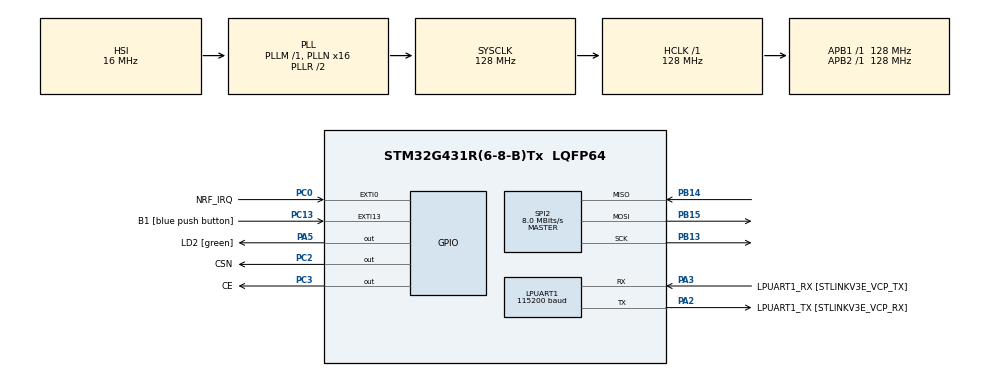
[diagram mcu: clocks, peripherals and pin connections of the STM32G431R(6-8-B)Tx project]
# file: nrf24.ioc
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LPUART1.BaudRate=115200
LPUART1.WordLength=UART_WORDLENGTH_8B
Mcu.Family=STM32G4
Mcu.Name=STM32G431R(6-8-B)Tx
Mcu.Package=LQFP64
NVIC.PriorityGroup=NVIC_PRIORITYGROUP_4
PA13.GPIO_Label=T_SWDIO
PA13.Mode=Serial_Wire
PA13.Signal=SYS_JTMS-SWDIO
PA14.GPIO_Label=T_SWCLK
PA14.Mode=Serial_Wire
PA14.Signal=SYS_JTCK-SWCLK
PA2.GPIO_Label=LPUART1_TX [STLINKV3E_VCP_RX]
PA2.Mode=Asynchronous
PA2.Signal=LPUART1_TX
PA3.GPIO_Label=LPUART1_RX [STLINKV3E_VCP_TX]
PA3.Mode=Asynchronous
PA3.Signal=LPUART1_RX
PA5.GPIO_Label=LD2 [green]
PA5.Signal=GPIO_Output
PB13.GPIO_Speed=GPIO_SPEED_FREQ_VERY_HIGH
PB13.Mode=Full_Duplex_Master
PB13.Signal=SPI2_SCK
PB14.GPIO_Speed=GPIO_SPEED_FREQ_VERY_HIGH
PB14.Mode=Full_Duplex_Master
PB14.Signal=SPI2_MISO
PB15.GPIO_Speed=GPIO_SPEED_FREQ_VERY_HIGH
PB15.Mode=Full_Duplex_Master
PB15.Signal=SPI2_MOSI
PB3.GPIO_Label=T_SWO
PB3.Signal=SYS_JTDO-SWO
PC0.GPIO_Label=NRF_IRQ
PC0.GPIO_ModeDefaultEXTI=GPIO_MODE_IT_FALLING
PC0.GPIO_PuPd=GPIO_PULLUP
PC0.Signal=GPXTI0
PC13.GPIO_Label=B1 [blue push button]
PC13.Signal=GPXTI13
PC14-OSC32_IN.Mode=LSE-External-Oscillator
PC14-OSC32_IN.Signal=RCC_OSC32_IN
PC15-OSC32_OUT.Mode=LSE-External-Oscillator
PC15-OSC32_OUT.Signal=RCC_OSC32_OUT
PC2.GPIO_Label=CSN
PC2.GPIO_Speed=GPIO_SPEED_FREQ_VERY_HIGH
PC2.Signal=GPIO_Output
PC3.GPIO_Label=CE
PC3.GPIO_Speed=GPIO_SPEED_FREQ_VERY_HIGH
PC3.Signal=GPIO_Output
PF0-OSC_IN.Mode=HSE-External-Oscillator
PF0-OSC_IN.Signal=RCC_OSC_IN
PF1-OSC_OUT.Mode=HSE-External-Oscillator
PF1-OSC_OUT.Signal=RCC_OSC_OUT
ProjectManager.HeapSize=0x200
ProjectManager.StackSize=0x400
ProjectManager.TargetToolchain=STM32CubeIDE
RCC.ADC12Freq_Value=128000000
RCC.AHBFreq_Value=128000000
RCC.APB1Freq_Value=128000000
RCC.APB1TimFreq_Value=128000000
RCC.APB2Freq_Value=128000000
RCC.APB2TimFreq_Value=128000000
RCC.CortexFreq_Value=128000000
RCC.EXTERNAL_CLOCK_VALUE=12288000
RCC.HCLKFreq_Value=128000000
RCC.HSE_VALUE=24000000
RCC.HSI48_VALUE=48000000
RCC.HSI_VALUE=16000000
RCC.PLLN=16
RCC.RTCClockSelection=RCC_RTCCLKSOURCE_LSE
RCC.SYSCLKFreq_VALUE=128000000
RCC.SYSCLKSource=RCC_SYSCLKSOURCE_PLLCLK
RCC.USBFreq_Value=128000000
RCC.VCOOutputFreq_Value=256000000
SPI2.BaudRatePrescaler=SPI_BAUDRATEPRESCALER_16
SPI2.CalculateBaudRate=8.0 MBits/s
SPI2.DataSize=SPI_DATASIZE_8BIT
SPI2.Direction=SPI_DIRECTION_2LINES
SPI2.Mode=SPI_MODE_MASTER
SPI2.NSSPMode=SPI_NSS_PULSE_DISABLE
SPI2.VirtualType=VM_MASTER
VP_SYS_VS_DBSignals.Mode=DisableDeadBatterySignals
board=NUCLEO-G431RB

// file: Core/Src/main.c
/* USER CODE BEGIN Header */
/**
  ******************************************************************************
  * @file           : main.c
  * @brief          : Main program body
  ******************************************************************************
  * @attention
  *
  * Copyright (c) 2024 STMicroelectronics.
  * All rights reserved.
  *
  * This software is licensed under terms that can be found in the LICENSE file
  * in the root directory of this software component.
  * If no LICENSE file comes with this software, it is provided AS-IS.
  *
  ******************************************************************************
  */
/* USER CODE END Header */
#include "main.h"

/* USER CODE BEGIN Includes */
#include <stdio.h>
#include <string.h>
#include <stdlib.h>
#include <time.h>
#include "nrf24.h"
/* USER CODE END Includes */

/* USER CODE BEGIN PD */
#define HEX_CHARS      "0123456789ABCDEF"
/* USER CODE END PD */

UART_HandleTypeDef hlpuart1;
SPI_HandleTypeDef hspi2;

void SystemClock_Config(void);
static void MX_GPIO_Init(void);
static void MX_LPUART1_UART_Init(void);
static void MX_SPI2_Init(void);

/* USER CODE BEGIN 0 */
char uart_msg[100];
void print(char uart_buffer[]);
void printValue(float value);
void printHex(uint8_t value);
void generate_data(uint16_t dataid, float* data);
void copyArray(float *source, float *destination, uint8_t size);
float rand_float(float min, float max);
uint8_t chooseRandomNumber(int *array, int size);

/* ---- RF address must be 5 bytes ---- */
uint8_t TxAddress[5] = {0xE7, 0xE7, 0xE7, 0xE7, 0xE7}; // 5-byte address (E7E7E7E7E7)

// Datos a enviar (con distintos largos)
float data1[] = {0x610, 1.23f, 4.56f, 7.89f, 0.12f, 3.45f, 6.78f};
float data2[] = {0x600, 10.11f, 12.13f, 14.15f, 16.17f, 18.19f, 20.21f, 22.23f};
float data3[] = {0x630, 23.24f, 25.26f};
float data4[] = {0x640, 26.27f, 28.29f, 30.31f};
float data5[] = {0x650, 31.32f, 33.34f, 35.36f, 37.38f};
float data6[] = {0x670, 38.39f, 40.41f, 42.43f, 44.45f};
float data7[] = {0x660, 45.46f, 47.48f, 49.50f, 51.52f};
float data8[] = {0x680, 52.53f, 54.55f, 56.57f, 58.59f};

/* Tabla de punteros y largos reales */
static float * const tables[] = { data1, data2, data3, data4, data5, data6, data7, data8 };
static const uint8_t lengths[] = {
  sizeof(data1)/sizeof(float),
  sizeof(data2)/sizeof(float),
  sizeof(data3)/sizeof(float),
  sizeof(data4)/sizeof(float),
  sizeof(data5)/sizeof(float),
  sizeof(data6)/sizeof(float),
  sizeof(data7)/sizeof(float),
  sizeof(data8)/sizeof(float)
};
/* USER CODE END 0 */

int main(void)
{
  /* MCU Configuration--------------------------------------------------------*/

  HAL_Init();
  SystemClock_Config();

  /* Initialize all configured peripherals */
  MX_GPIO_Init();
  MX_LPUART1_UART_Init();
  MX_SPI2_Init();

  /* USER CODE BEGIN 2 */
  NRF24_Init();
  NRF24_TxMode(TxAddress, 76);
  NRF24_Dump();

  int i = 0;
  print("Inicializando TX");
  /* USER CODE END 2 */

  /* Infinite loop */
  /* USER CODE BEGIN WHILE */
  while (1) {
      HAL_GPIO_TogglePin(GPIOA, GPIO_PIN_5);
      HAL_Delay(300);

      /* ---- Construir SIEMPRE un frame de 8 floats (32 bytes) ---- */
      float pkt[8] = {0};                   // cero-relleno
      uint8_t n = lengths[i];
      if (n > 8) n = 8;
      memcpy(pkt, tables[i], n * sizeof(float));

      // Mostrar por UART exactamente lo que se enviará (desde pkt)
      sprintf(uart_msg, "\r\n[TX] Enviando paquete con ID: 0x%X", (uint16_t)pkt[0]);
      HAL_UART_Transmit(&hlpuart1, (uint8_t*)uart_msg, strlen(uart_msg), HAL_MAX_DELAY);

      for (int j = 1; j < 8; j++) {
          int ent = (int)pkt[j];
          int dec = (int)((pkt[j] - ent) * 100);
          if (dec < 0) dec = -dec;
          sprintf(uart_msg, ", V%d: %d.%02d", j, ent, dec);
          HAL_UART_Transmit(&hlpuart1, (uint8_t*)uart_msg, strlen(uart_msg), HAL_MAX_DELAY);
      }
      HAL_UART_Transmit(&hlpuart1, (uint8_t*)"\r\n", 2, HAL_MAX_DELAY);

      // Enviar por radio el frame bien formado (32B)
      uint8_t ok = NRF24_Transmit((uint8_t*)pkt);
      uint8_t st = nrf24_ReadReg(STATUS);
      uint8_t ob = nrf24_ReadReg(OBSERVE_TX);   // [PLOS_CNT | ARC_CNT]

      if (ok) {
          print("[TX] Transmisión exitosa.");
      } else {
          print("[TX] FALLO de transmisión.");
      }
      sprintf(uart_msg, "STATUS=%02X OBSERVE_TX=%02X\r\n", st, ob);
      HAL_UART_Transmit(&hlpuart1,(uint8_t*)uart_msg,strlen(uart_msg),HAL_MAX_DELAY);

      i++;
      if (i == 8) i = 0;
  }
  /* USER CODE END WHILE */
}

void SystemClock_Config(void)
{
  RCC_OscInitTypeDef RCC_OscInitStruct = {0};
  RCC_ClkInitTypeDef RCC_ClkInitStruct = {0};

  HAL_PWREx_ControlVoltageScaling(PWR_REGULATOR_VOLTAGE_SCALE1);

  RCC_OscInitStruct.OscillatorType = RCC_OSCILLATORTYPE_HSI;
  RCC_OscInitStruct.HSIState = RCC_HSI_ON;
  RCC_OscInitStruct.HSICalibrationValue = RCC_HSICALIBRATION_DEFAULT;
  RCC_OscInitStruct.PLL.PLLState = RCC_PLL_ON;
  RCC_OscInitStruct.PLL.PLLSource = RCC_PLLSOURCE_HSI;
  RCC_OscInitStruct.PLL.PLLM = RCC_PLLM_DIV1;
  RCC_OscInitStruct.PLL.PLLN = 16;
  RCC_OscInitStruct.PLL.PLLP = RCC_PLLP_DIV2;
  RCC_OscInitStruct.PLL.PLLQ = RCC_PLLQ_DIV2;
  RCC_OscInitStruct.PLL.PLLR = RCC_PLLR_DIV2;
  if (HAL_RCC_OscConfig(&RCC_OscInitStruct) != HAL_OK) { Error_Handler(); }

  RCC_ClkInitStruct.ClockType = RCC_CLOCKTYPE_HCLK|RCC_CLOCKTYPE_SYSCLK
                              |RCC_CLOCKTYPE_PCLK1|RCC_CLOCKTYPE_PCLK2;
  RCC_ClkInitStruct.SYSCLKSource = RCC_SYSCLKSOURCE_PLLCLK;
  RCC_ClkInitStruct.AHBCLKDivider = RCC_SYSCLK_DIV1;
  RCC_ClkInitStruct.APB1CLKDivider = RCC_HCLK_DIV1;
  RCC_ClkInitStruct.APB2CLKDivider = RCC_HCLK_DIV1;

  if (HAL_RCC_ClockConfig(&RCC_ClkInitStruct, FLASH_LATENCY_4) != HAL_OK) { Error_Handler(); }
}

static void MX_LPUART1_UART_Init(void)
{
  hlpuart1.Instance = LPUART1;
  hlpuart1.Init.BaudRate = 115200;
  hlpuart1.Init.WordLength = UART_WORDLENGTH_8B;
  hlpuart1.Init.StopBits = UART_STOPBITS_1;
  hlpuart1.Init.Parity = UART_PARITY_NONE;
  hlpuart1.Init.Mode = UART_MODE_TX_RX;
  hlpuart1.Init.HwFlowCtl = UART_HWCONTROL_NONE;
  hlpuart1.Init.OneBitSampling = UART_ONE_BIT_SAMPLE_DISABLE;
  hlpuart1.Init.ClockPrescaler = UART_PRESCALER_DIV1;
  hlpuart1.AdvancedInit.AdvFeatureInit = UART_ADVFEATURE_NO_INIT;
  if (HAL_UART_Init(&hlpuart1) != HAL_OK) { Error_Handler(); }
  if (HAL_UARTEx_SetTxFifoThreshold(&hlpuart1, UART_TXFIFO_THRESHOLD_1_8) != HAL_OK) { Error_Handler(); }
  if (HAL_UARTEx_SetRxFifoThreshold(&hlpuart1, UART_RXFIFO_THRESHOLD_1_8) != HAL_OK) { Error_Handler(); }
  if (HAL_UARTEx_DisableFifoMode(&hlpuart1) != HAL_OK) { Error_Handler(); }
}

static void MX_SPI2_Init(void)
{
  hspi2.Instance = SPI2;
  hspi2.Init.Mode = SPI_MODE_MASTER;
  hspi2.Init.Direction = SPI_DIRECTION_2LINES;
  hspi2.Init.DataSize = SPI_DATASIZE_8BIT;
  hspi2.Init.CLKPolarity = SPI_POLARITY_LOW;
  hspi2.Init.CLKPhase = SPI_PHASE_1EDGE;
  hspi2.Init.NSS = SPI_NSS_SOFT;
  hspi2.Init.BaudRatePrescaler = SPI_BAUDRATEPRESCALER_16;
  hspi2.Init.FirstBit = SPI_FIRSTBIT_MSB;
  hspi2.Init.TIMode = SPI_TIMODE_DISABLE;
  hspi2.Init.CRCCalculation = SPI_CRCCALCULATION_DISABLE;
  hspi2.Init.CRCPolynomial = 7;
  hspi2.Init.CRCLength = SPI_CRC_LENGTH_DATASIZE;
  hspi2.Init.NSSPMode = SPI_NSS_PULSE_DISABLE;
  if (HAL_SPI_Init(&hspi2) != HAL_OK) { Error_Handler(); }
}

static void MX_GPIO_Init(void)
{
  GPIO_InitTypeDef GPIO_InitStruct = {0};

  __HAL_RCC_GPIOC_CLK_ENABLE();
  __HAL_RCC_GPIOF_CLK_ENABLE();
  __HAL_RCC_GPIOA_CLK_ENABLE();
  __HAL_RCC_GPIOB_CLK_ENABLE();

  /* Idle levels at reset: CSN=HIGH (not selected), CE=LOW */
  HAL_GPIO_WritePin(GPIOC, CSN_Pin, GPIO_PIN_SET);    // CSN HIGH
  HAL_GPIO_WritePin(GPIOC, CE_Pin,  GPIO_PIN_RESET);  // CE  LOW

  HAL_GPIO_WritePin(LD2_GPIO_Port, LD2_Pin, GPIO_PIN_RESET);

  GPIO_InitStruct.Pin = B1_Pin;
  GPIO_InitStruct.Mode = GPIO_MODE_IT_RISING;
  GPIO_InitStruct.Pull = GPIO_NOPULL;
  HAL_GPIO_Init(B1_GPIO_Port, &GPIO_InitStruct);

  GPIO_InitStruct.Pin = NRF_IRQ_Pin;
  GPIO_InitStruct.Mode = GPIO_MODE_IT_FALLING;
  GPIO_InitStruct.Pull = GPIO_PULLUP;
  HAL_GPIO_Init(NRF_IRQ_GPIO_Port, &GPIO_InitStruct);

  GPIO_InitStruct.Pin = CSN_Pin|CE_Pin;
  GPIO_InitStruct.Mode = GPIO_MODE_OUTPUT_PP;
  GPIO_InitStruct.Pull = GPIO_NOPULL;
  GPIO_InitStruct.Speed = GPIO_SPEED_FREQ_VERY_HIGH;
  HAL_GPIO_Init(GPIOC, &GPIO_InitStruct);

  GPIO_InitStruct.Pin = LD2_Pin;
  GPIO_InitStruct.Mode = GPIO_MODE_OUTPUT_PP;
  GPIO_InitStruct.Pull = GPIO_NOPULL;
  GPIO_InitStruct.Speed = GPIO_SPEED_FREQ_LOW;
  HAL_GPIO_Init(LD2_GPIO_Port, &GPIO_InitStruct);
}

/* USER CODE BEGIN 4 */
void print(char uart_buffer[]){
	sprintf(uart_msg, "%s \n\r", uart_buffer);
	HAL_UART_Transmit(&hlpuart1,(uint8_t*)uart_msg,strlen(uart_msg),HAL_MAX_DELAY);
}

void printValue(float value){
	sprintf(uart_msg, "%.2f \n\r", value);
	HAL_UART_Transmit(&hlpuart1,(uint8_t*)uart_msg,strlen(uart_msg),HAL_MAX_DELAY);
}

void printHex(uint8_t value){
	sprintf(uart_msg, "%02X ", value);
	HAL_UART_Transmit(&hlpuart1,(uint8_t*)uart_msg,strlen(uart_msg),HAL_MAX_DELAY);
}
float rand_float(float min, float max) {
    return min + ((float)rand() / RAND_MAX) * (max - min);
}
uint8_t chooseRandomNumber(int *array, int size) {
    srand(time(NULL));
    uint8_t randomIndex = (uint8_t) (rand() % size);
    return array[randomIndex];
}
void copyArray(float *source, float *destination, uint8_t size) {
    for (uint8_t i = 0; i < size; i++) destination[i] = source[i];
}
void generate_data(uint16_t dataid, float* data) {
    uint8_t size = 0;
    switch (dataid) {
        case 0x610: {
            float tmp[7] = {dataid, rand_float(-10, 10), rand_float(-10, 10), rand_float(-10, 10), rand_float(-100, 100), rand_float(-100, 100), rand_float(-100, 100)};
            size = 7; copyArray(tmp, data, size); break;
        }
        case 0x600: {
            float tmp[7] = {dataid, rand_float(0, 100), rand_float(0, 100), rand_float(0, 100), rand_float(0, 10000), rand_float(0, 400), rand_float(0, 500)};
            size = 7; copyArray(tmp, data, size); break;
        }
        case 0x630: {
            float tmp[3] = {dataid, 1, 1};
            size = 3; copyArray(tmp, data, size); break;
        }
        case 0x640: {
            float tmp[4] = {dataid, rand_float(0, 500), rand_float(2.5f, 4.2f), rand_float(20, 60)};
            size = 4; copyArray(tmp, data, size); break;
        }
        case 0x650: {
            float tmp[5] = {dataid, rand_float(0, 200), rand_float(-90, 90), rand_float(-180, 180), rand_float(0, 8000)};
            size = 5; copyArray(tmp, data, size); break;
        }
        case 0x670: {
            float tmp[5] = {dataid, rand_float(0, 100), rand_float(0, 100), rand_float(0, 100), rand_float(0, 100)};
            size = 5; copyArray(tmp, data, size); break;
        }
        case 0x660: {
            float tmp[5] = {dataid, rand_float(0, 400), rand_float(0, 400), rand_float(0, 400), rand_float(0, 400)};
            size = 5; copyArray(tmp, data, size); break;
        }
        default:
            break;
    }
}
/* USER CODE END 4 */

void Error_Handler(void)
{
  __disable_irq();
  while (1) { }
}
